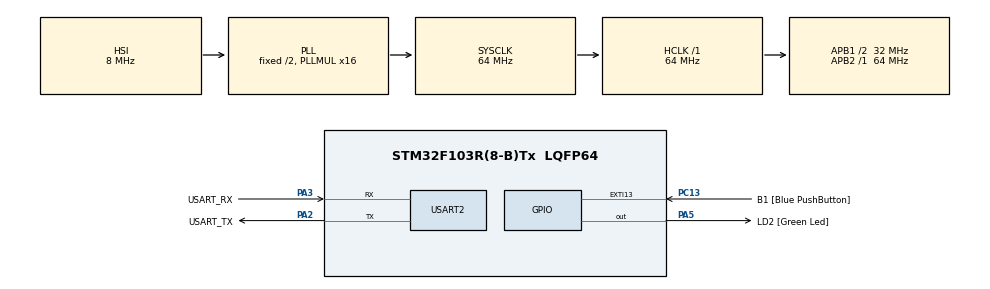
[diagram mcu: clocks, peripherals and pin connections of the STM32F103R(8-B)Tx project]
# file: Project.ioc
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FREERTOS.BinarySemaphores01=emergencySemaphore,Dynamic,NULL,Available
FREERTOS.Tasks01=FloorSelectionT,1,128,FloorSelectionTaskHandle,Default,NULL,Dynamic,NULL,NULL;ElevatorMovemen,0,256,ElevatorMovementTaskHandle,Default,NULL,Dynamic,NULL,NULL;DisplayUpdateTa,-1,128,DisplayUpdateTaskHandle,Default,NULL,Dynamic,NULL,NULL
FREERTOS.configUSE_NEWLIB_REENTRANT=0
Mcu.Family=STM32F1
Mcu.Name=STM32F103R(8-B)Tx
Mcu.Package=LQFP64
NVIC.EXTI15_10_IRQn=true\:5\:0\:false\:false\:true\:true\:true\:true\:true
NVIC.PriorityGroup=NVIC_PRIORITYGROUP_4
NVIC.TIM4_IRQn=true\:15\:0\:false\:false\:true\:false\:false\:true\:true
NVIC.TimeBase=TIM4_IRQn
NVIC.TimeBaseIP=TIM4
PA13.GPIO_Label=TMS
PA13.Mode=Serial_Wire
PA13.Signal=SYS_JTMS-SWDIO
PA14.GPIO_Label=TCK
PA14.Mode=Serial_Wire
PA14.Signal=SYS_JTCK-SWCLK
PA2.GPIO_Label=USART_TX
PA2.GPIO_Mode=GPIO_MODE_AF_PP
PA2.GPIO_PuPd=GPIO_NOPULL
PA2.GPIO_Speed=GPIO_SPEED_FREQ_LOW
PA2.Mode=Asynchronous
PA2.Signal=USART2_TX
PA3.GPIO_Label=USART_RX
PA3.GPIO_Mode=GPIO_MODE_AF_PP
PA3.GPIO_PuPd=GPIO_NOPULL
PA3.GPIO_Speed=GPIO_SPEED_FREQ_LOW
PA3.Mode=Asynchronous
PA3.Signal=USART2_RX
PA5.GPIO_Label=LD2 [Green Led]
PA5.GPIO_ModeDefaultOutputPP=GPIO_MODE_OUTPUT_PP
PA5.GPIO_PuPd=GPIO_NOPULL
PA5.GPIO_Speed=GPIO_SPEED_FREQ_LOW
PA5.Signal=GPIO_Output
PB3.GPIO_Label=SWO
PB3.Signal=SYS_JTDO-TRACESWO
PC13-TAMPER-RTC.GPIO_Label=B1 [Blue PushButton]
PC13-TAMPER-RTC.GPIO_PuPd=GPIO_NOPULL
PC13-TAMPER-RTC.Signal=GPXTI13
PC14-OSC32_IN.Mode=LSE-External-Oscillator
PC14-OSC32_IN.Signal=RCC_OSC32_IN
PC15-OSC32_OUT.Mode=LSE-External-Oscillator
PC15-OSC32_OUT.Signal=RCC_OSC32_OUT
PD0-OSC_IN.Mode=HSE-External-Clock-Source
PD0-OSC_IN.Signal=RCC_OSC_IN
PD1-OSC_OUT.Mode=HSE-External-Clock-Source
PD1-OSC_OUT.Signal=RCC_OSC_OUT
ProjectManager.HeapSize=0x200
ProjectManager.StackSize=0x400
ProjectManager.TargetToolchain=STM32CubeIDE
RCC.AHBFreq_Value=64000000
RCC.APB1CLKDivider=RCC_HCLK_DIV2
RCC.APB1Freq_Value=32000000
RCC.APB1TimFreq_Value=64000000
RCC.APB2Freq_Value=64000000
RCC.APB2TimFreq_Value=64000000
RCC.HCLKFreq_Value=64000000
RCC.PLLMUL=RCC_PLL_MUL16
RCC.RTCClockSelection=RCC_RTCCLKSOURCE_LSE
RCC.SYSCLKFreq_VALUE=64000000
RCC.SYSCLKSource=RCC_SYSCLKSOURCE_PLLCLK
RCC.USBFreq_Value=64000000
USART2.VirtualMode=VM_ASYNC
VP_FREERTOS_VS_CMSIS_V1.Mode=CMSIS_V1
VP_SYS_VS_tim4.Mode=TIM4
board=NUCLEO-F103RB

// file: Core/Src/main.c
/* USER CODE BEGIN Header */
/**
  ******************************************************************************
  * @file           : main.c
  * @brief          : Main program body
  ******************************************************************************
  * @attention
  *
  * Copyright (c) 2024 STMicroelectronics.
  * All rights reserved.
  *
  * This software is licensed under terms that can be found in the LICENSE file
  * in the root directory of this software component.
  * If no LICENSE file comes with this software, it is provided AS-IS.
  *
  ******************************************************************************
  */

/* USER CODE END Header */
#include "main.h"
#include "cmsis_os.h"
#include <stdio.h>
#include <string.h>
#include <stdlib.h>  // Required for atoi
/* USER CODE BEGIN Includes */
// Forward declarations
char cliBufferTX[100];
void printStringBlocking(const char *str);
void welcomeMessage(void);
/* USER CODE END Includes */

UART_HandleTypeDef huart2;

osThreadId FloorSelectionTHandle;
osThreadId ElevatorMovemenHandle;
osThreadId DisplayUpdateTaHandle;
osSemaphoreId emergencySemaphoreHandle;

void SystemClock_Config(void);
static void MX_GPIO_Init(void);
static void MX_USART2_UART_Init(void);
void FloorSelectionTaskHandle(void const * argument);
void ElevatorMovementTaskHandle(void const * argument);
void DisplayUpdateTaskHandle(void const * argument);

/* USER CODE BEGIN PFP */

QueueHandle_t floorQueue;
QueueHandle_t emergencyQueue; // Declare emergencyQueue globally
int currentFloor = 1; // Initial floor
volatile int insideState = 0; // 0 = Outside, 1 = Inside
volatile int emergencyState = 0; // 0 = Normal, 1 = Emergency
SemaphoreHandle_t emergencySemaphore; // Semaphore for emergency mode
SemaphoreHandle_t floorMutex;
SemaphoreHandle_t emergencyMutex;
volatile int emergencyFlag = 0; // Set by ISR, processed by a task
/* USER CODE END PV */

/* USER CODE END PFP */

int main(void)
{

  /* MCU Configuration--------------------------------------------------------*/

  /* Reset of all peripherals, Initializes the Flash interface and the Systick. */
  HAL_Init();

  /* Configure the system clock */
  SystemClock_Config();

  /* Initialize all configured peripherals */
  MX_GPIO_Init();
  MX_USART2_UART_Init();
  /* USER CODE BEGIN 2 */

  /* USER CODE BEGIN 2 */
  floorMutex = xSemaphoreCreateMutex();
  if (floorMutex == NULL) {
      Error_Handler(); // Handle mutex creation failure
  }

  emergencyMutex = xSemaphoreCreateMutex();
  if (emergencyMutex == NULL) {
      Error_Handler(); // Handle mutex creation failure
  }
  /* USER CODE END 2 */

  emergencyQueue = xQueueCreate(1, sizeof(int));
  if (emergencyQueue == NULL) {
      Error_Handler(); // Handle creation failure
  }

  floorQueue = xQueueCreate(2, sizeof(int));
  if (floorQueue == NULL) {
      Error_Handler();
  }

  /* USER CODE END 2 */

  /* Create the semaphores(s) */
  /* definition and creation of emergencySemaphore */
  osSemaphoreDef(emergencySemaphore);
  emergencySemaphoreHandle = osSemaphoreCreate(osSemaphore(emergencySemaphore), 1);

  /* Create the thread(s) */
  /* definition and creation of FloorSelectionT */
  osThreadDef(FloorSelectionT, FloorSelectionTaskHandle, osPriorityBelowNormal, 0, 128);
  FloorSelectionTHandle = osThreadCreate(osThread(FloorSelectionT), NULL);

  /* definition and creation of ElevatorMovemen */
  osThreadDef(ElevatorMovemen, ElevatorMovementTaskHandle, osPriorityNormal, 0, 256);
  ElevatorMovemenHandle = osThreadCreate(osThread(ElevatorMovemen), NULL);

  /* definition and creation of DisplayUpdateTa */
  osThreadDef(DisplayUpdateTa, DisplayUpdateTaskHandle, osPriorityAboveNormal, 0, 128);
  DisplayUpdateTaHandle = osThreadCreate(osThread(DisplayUpdateTa), NULL);

  /* Start scheduler */
  osKernelStart();

  /* We should never get here as control is now taken by the scheduler */

  /* Infinite loop */
  while (1)
  {

  }
}

void SystemClock_Config(void)
{
  RCC_OscInitTypeDef RCC_OscInitStruct = {0};
  RCC_ClkInitTypeDef RCC_ClkInitStruct = {0};

  /** Initializes the RCC Oscillators according to the specified parameters
  * in the RCC_OscInitTypeDef structure.
  */
  RCC_OscInitStruct.OscillatorType = RCC_OSCILLATORTYPE_HSI;
  RCC_OscInitStruct.HSIState = RCC_HSI_ON;
  RCC_OscInitStruct.HSICalibrationValue = RCC_HSICALIBRATION_DEFAULT;
  RCC_OscInitStruct.PLL.PLLState = RCC_PLL_ON;
  RCC_OscInitStruct.PLL.PLLSource = RCC_PLLSOURCE_HSI_DIV2;
  RCC_OscInitStruct.PLL.PLLMUL = RCC_PLL_MUL16;
  if (HAL_RCC_OscConfig(&RCC_OscInitStruct) != HAL_OK)
  {
    Error_Handler();
  }

  /** Initializes the CPU, AHB and APB buses clocks
  */
  RCC_ClkInitStruct.ClockType = RCC_CLOCKTYPE_HCLK|RCC_CLOCKTYPE_SYSCLK
                              |RCC_CLOCKTYPE_PCLK1|RCC_CLOCKTYPE_PCLK2;
  RCC_ClkInitStruct.SYSCLKSource = RCC_SYSCLKSOURCE_PLLCLK;
  RCC_ClkInitStruct.AHBCLKDivider = RCC_SYSCLK_DIV1;
  RCC_ClkInitStruct.APB1CLKDivider = RCC_HCLK_DIV2;
  RCC_ClkInitStruct.APB2CLKDivider = RCC_HCLK_DIV1;

  if (HAL_RCC_ClockConfig(&RCC_ClkInitStruct, FLASH_LATENCY_2) != HAL_OK)
  {
    Error_Handler();
  }
}

static void MX_USART2_UART_Init(void)
{

  huart2.Instance = USART2;
  huart2.Init.BaudRate = 115200;
  huart2.Init.WordLength = UART_WORDLENGTH_8B;
  huart2.Init.StopBits = UART_STOPBITS_1;
  huart2.Init.Parity = UART_PARITY_NONE;
  huart2.Init.Mode = UART_MODE_TX_RX;
  huart2.Init.HwFlowCtl = UART_HWCONTROL_NONE;
  huart2.Init.OverSampling = UART_OVERSAMPLING_16;
  if (HAL_UART_Init(&huart2) != HAL_OK)
  {
    Error_Handler();
  }

}

static void MX_GPIO_Init(void)
{
  GPIO_InitTypeDef GPIO_InitStruct = {0};

  /* GPIO Ports Clock Enable */
  __HAL_RCC_GPIOC_CLK_ENABLE();
  __HAL_RCC_GPIOD_CLK_ENABLE();
  __HAL_RCC_GPIOA_CLK_ENABLE();
  __HAL_RCC_GPIOB_CLK_ENABLE();

  /*Configure GPIO pin Output Level */
  HAL_GPIO_WritePin(LD2_GPIO_Port, LD2_Pin, GPIO_PIN_RESET);

  /*Configure GPIO pin : B1_Pin */
  GPIO_InitStruct.Pin = B1_Pin;
  GPIO_InitStruct.Mode = GPIO_MODE_IT_RISING;
  GPIO_InitStruct.Pull = GPIO_NOPULL;
  HAL_GPIO_Init(B1_GPIO_Port, &GPIO_InitStruct);

  /*Configure GPIO pin : LD2_Pin */
  GPIO_InitStruct.Pin = LD2_Pin;
  GPIO_InitStruct.Mode = GPIO_MODE_OUTPUT_PP;
  GPIO_InitStruct.Pull = GPIO_NOPULL;
  GPIO_InitStruct.Speed = GPIO_SPEED_FREQ_LOW;
  HAL_GPIO_Init(LD2_GPIO_Port, &GPIO_InitStruct);

  /* EXTI interrupt init*/
  HAL_NVIC_SetPriority(EXTI15_10_IRQn, 5, 0);
  HAL_NVIC_EnableIRQ(EXTI15_10_IRQn);

}

/* USER CODE BEGIN 4 */

void CLI_Transmit(const char *message) {
    HAL_UART_Transmit(&huart2, (uint8_t *)message, strlen(message), HAL_MAX_DELAY);
}

#define RX_BUFFER_SIZE 100
char rx_buffer[RX_BUFFER_SIZE];

int CLI_Receive(char *buffer, uint16_t buffer_size) {
    uint16_t index = 0;
    uint8_t rx_char;

    while (index < buffer_size - 1) {
        if (HAL_UART_Receive(&huart2, &rx_char, 1, HAL_MAX_DELAY) == HAL_OK) {
            HAL_UART_Transmit(&huart2, &rx_char, 1, HAL_MAX_DELAY);
            if (rx_char == '\r' || rx_char == '\n') {
                buffer[index] = '\0';
                return 1; // Successful reception
            }
            buffer[index++] = rx_char;
        } else {
            return 0; // Reception error
        }
    }
    buffer[index] = '\0';
    return 1;
}

void HAL_GPIO_EXTI_Callback(uint16_t GPIO_Pin) {
    static uint32_t last_interrupt_time = 0;
    uint32_t current_time = HAL_GetTick();

    if (GPIO_Pin == GPIO_PIN_13 && current_time - last_interrupt_time > 200) { // Debounce: 200 ms
        int emergencySignal = 1;
        xQueueSendFromISR(emergencyQueue, &emergencySignal, NULL);
        last_interrupt_time = current_time;
    }
}

/* USER CODE END 4 */

void FloorSelectionTaskHandle(void const *argument) {
    char command_buffer[100];
    int targetFloor;

    CLI_Transmit("\x1b[2J\x1b[3;1H\x1b[4;1r\x1b[4;1H");

    for (;;) {
        // Process emergency signals
        int emergencySignal;
        if (xQueueReceive(emergencyQueue, &emergencySignal, 0) == pdPASS) {
            xSemaphoreTake(emergencyMutex, portMAX_DELAY);
            emergencyState = 1;
            xSemaphoreGive(emergencyMutex);

            CLI_Transmit("\x1b[2J\x1b[H");
            CLI_Transmit("Emergency mode activated. All operations halted.\n");
        }

        // Display CLI prompt
        CLI_Transmit("\x1b[24;1H> ");
        if (CLI_Receive(command_buffer, sizeof(command_buffer))) {
            CLI_Transmit("\x1b[23;1H");
            CLI_Transmit("Received: ");
            CLI_Transmit(command_buffer);
            CLI_Transmit("\n");

            // Handle emergency mode
            xSemaphoreTake(emergencyMutex, portMAX_DELAY);
            if (emergencyState) {
                xSemaphoreGive(emergencyMutex);
                if (strncmp(command_buffer, "exit_emergency", 14) == 0) {
                    xSemaphoreTake(emergencyMutex, portMAX_DELAY);
                    emergencyState = 0; // Deactivate emergency mode
                    xSemaphoreGive(emergencyMutex);
                    CLI_Transmit("Emergency mode deactivated. Resuming operations.\n");
                } else {
                    CLI_Transmit("Only 'exit_emergency' allowed in emergency mode.\n");
                }
                continue; // Ignore other commands
            }
            xSemaphoreGive(emergencyMutex);

            // Handle normal commands
            if (strncmp(command_buffer, "enter", 5) == 0) {
                insideState = 1;
                CLI_Transmit("You have entered the elevator.\n");
            } else if (strncmp(command_buffer, "exit", 4) == 0) {
                insideState = 0;
                CLI_Transmit("You have exited the elevator.\n");
            } else if (strncmp(command_buffer, "floor=", 6) == 0) {
                if (insideState) {
                    targetFloor = atoi(command_buffer + 6);
                    if (targetFloor >= 1 && targetFloor <= 3) {
                        xQueueSend(floorQueue, &targetFloor, pdMS_TO_TICKS(50));
                        CLI_Transmit("Moving to selected floor...\n");
                    } else {
                        CLI_Transmit("Invalid floor. Enter 1, 2, or 3.\n");
                    }
                } else {
                    CLI_Transmit("You must enter the elevator to select a floor.\n");
                }
            } else {
                // Handle invalid command
                CLI_Transmit("Invalid command. Available commands: enter, exit, floor=<1|2|3>, exit_emergency\n");
            }
        }
    }
}

void ElevatorMovementTaskHandle(void const *argument) {
    int targetFloor;

    for (;;) {
        if (xQueueReceive(floorQueue, &targetFloor, portMAX_DELAY) == pdPASS) {
            while (1) {
                xSemaphoreTake(floorMutex, portMAX_DELAY);
                if (currentFloor == targetFloor) {
                    xSemaphoreGive(floorMutex);

                    // Turn on the LED on reaching the target floor
                    HAL_GPIO_WritePin(GPIOA, GPIO_PIN_5, GPIO_PIN_SET);
                    osDelay(500); // Keep the LED on for 500 ms
                    HAL_GPIO_WritePin(GPIOA, GPIO_PIN_5, GPIO_PIN_RESET);
                    break;
                }
                currentFloor += (currentFloor < targetFloor) ? 1 : -1;
                xSemaphoreGive(floorMutex);

                char move_message[50];
                snprintf(move_message, sizeof(move_message), "Moving... Floor: %d\n", currentFloor);
                CLI_Transmit(move_message);

                osDelay(1000); // Delay for floor movement simulation
            }
            CLI_Transmit("Arrived at Target Floor.\n");
        }
    }
}

void DisplayUpdateTaskHandle(void const *argument) {
    char message[50];

    for (;;) {
        xSemaphoreTake(floorMutex, portMAX_DELAY);
        int localFloor = currentFloor;
        xSemaphoreGive(floorMutex);

        // Save current cursor position
        CLI_Transmit("\x1b[s"); // Save cursor position

        // Update the "Current Floor" display
        snprintf(message, sizeof(message), "\x1b[2;16HCurrent Floor: %d   ", localFloor);
        CLI_Transmit(message);

        // Restore the saved cursor position
        CLI_Transmit("\x1b[u"); // Restore cursor position

        osDelay(1000);
    }
}

void HAL_TIM_PeriodElapsedCallback(TIM_HandleTypeDef *htim)
{
  if (htim->Instance == TIM4) {
    HAL_IncTick();
  }
}

void Error_Handler(void)
{
  __disable_irq();
  while (1)
  {
  }
}
